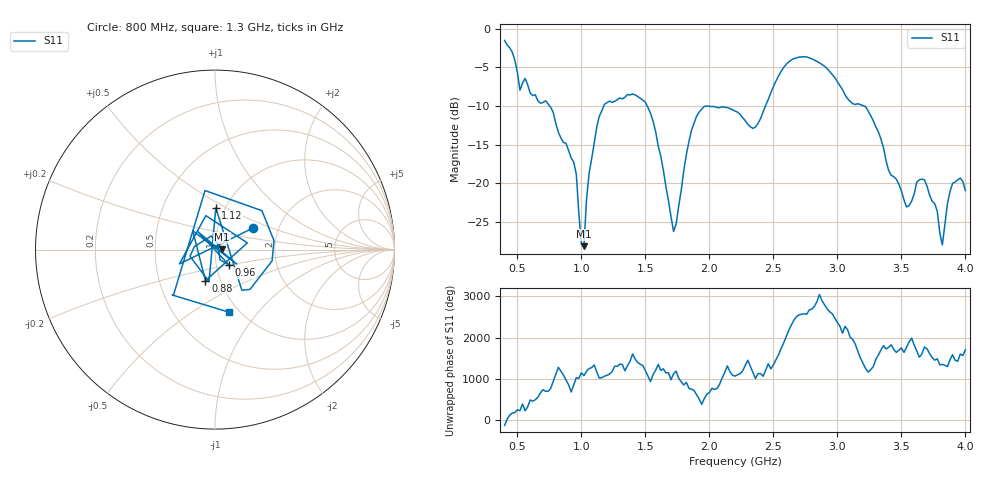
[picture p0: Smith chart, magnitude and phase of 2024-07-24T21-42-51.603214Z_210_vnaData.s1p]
!Created with skrf (http://scikit-rf.org).
# Hz S RI R 50.0
!freq ReS11 ImS11
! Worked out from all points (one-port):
!   181 points, 400 MHz to 4 GHz, reference 50 ohm
!   lowest |S11| = -28.1 dB at 1.02 GHz (marker M1), VSWR 1.08, Z = 54.1 + j0.183 ohm
!   |S11| at or under -10 dB: 1.514 GHz to 1.979 GHz (465.1 MHz wide, 26.6 % of centre); 1.981 GHz to 2.438 GHz (456.8 MHz wide, 20.7 % of centre); 3.208 GHz to end of sweep (the widest 3 of 4)
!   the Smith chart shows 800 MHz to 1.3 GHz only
!   S11 on the Smith chart (normalised r, x): 800 MHz: 1.48, +0.38; 880 MHz: 0.85, -0.30; 960 MHz: 1.15, -0.20; 1.12 GHz: 0.91, +0.44; 1.3 GHz: 0.89, -0.71
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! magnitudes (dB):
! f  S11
! 400 MHz  -1.5
! 520 MHz  -8.0
! 560 MHz  -6.4
! 800 MHz  -12.3
! 860 MHz  -14.7
! 880 MHz  -14.8
! 960 MHz  -18.8
! 1 GHz  -27.9
! 1.02 GHz  -28.1
! 1.06 GHz  -18.7
! 1.12 GHz  -12.7
! 1.3 GHz  -9.0
! 1.5 GHz  -9.5
! 1.58 GHz  -13.3
! 1.72 GHz  -26.2
! 1.76 GHz  -23.0
! 1.9 GHz  -11.3
! 2.2 GHz  -10.7
! 2.36 GHz  -12.7
! 2.66 GHz  -3.9
! 2.9 GHz  -4.9
! 3.1 GHz  -9.4
! 3.24 GHz  -10.6
! 3.56 GHz  -22.9
! 3.68 GHz  -19.6
! 3.82 GHz  -28.0
! 3.9 GHz  -20.0
! 4 GHz  -20.9
